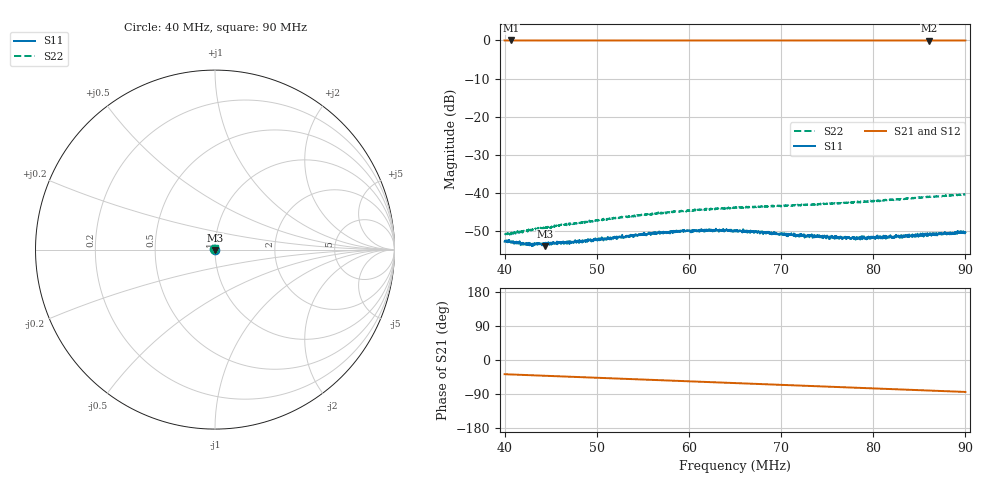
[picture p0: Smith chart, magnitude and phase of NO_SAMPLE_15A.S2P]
!Agilent Technologies,E5061B,MY49102235,A.02.00
!Date: Mon Jul 03 10:45:49 2023
!Data & Calibration Information:
!Freq	S11:SOLT2(ON)	S21:SOLT2(ON)	S12:SOLT2(ON)	S22:SOLT2(ON)
# Hz S RI R 50
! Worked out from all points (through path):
!   1600 points, 40 MHz to 90 MHz, reference 50 ohm
!   highest |S21| = 0.00 dB at 40.69 MHz (marker M1); lowest = 0.0 dB at 86.09 MHz (marker M2)
!   group delay of S21, straight-line fit = 2.6 ns
!   lowest |S11| = -54.0 dB at 44.41 MHz (marker M3), VSWR 1.00, Z = 49.9 - j0.19 ohm
!   |S11| at or under -10 dB: start of sweep to end of sweep
!   |S22| runs from -51.0 to -40.4 dB; largest |S21 - S12| = 0.0013
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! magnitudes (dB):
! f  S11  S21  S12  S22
! 40 MHz  -52.8  0.0  0.0  -50.6
! 40.69 MHz  -53.0  0.0  0.0  -50.7
! 42.35 MHz  -53.1  0.0  0.0  -49.7
! 44.41 MHz  -54.0  0.0  0.0  -49.2
! 48.35 MHz  -52.6  0.0  0.0  -47.9
! 52.54 MHz  -51.7  0.0  0.0  -46.5
! 52.91 MHz  -51.8  0.0  0.0  -46.5
! 56.67 MHz  -50.5  0.0  0.0  -45.1
! 59.73 MHz  -49.9  0.0  0.0  -44.8
! 64.23 MHz  -49.7  0.0  0.0  -44.0
! 65.02 MHz  -49.9  0.0  0.0  -43.9
! 67.74 MHz  -50.2  0.0  0.0  -43.7
! 71.71 MHz  -51.2  0.0  0.0  -43.2
! 73.36 MHz  -51.1  0.0  0.0  -43.0
! 74.43 MHz  -51.6  0.0  0.0  -43.0
! 77.71 MHz  -51.9  0.0  0.0  -42.5
! 78.77 MHz  -51.4  0.0  0.0  -42.4
! 79.37 MHz  -52.0  0.0  0.0  -42.2
! 81.68 MHz  -51.6  0.0  0.0  -41.9
! 83.06 MHz  -51.1  0.0  0.0  -41.7
! 86.09 MHz  -50.7  0.0  0.0  -41.1
! 90 MHz  -50.4  0.0  0.0  -40.4
